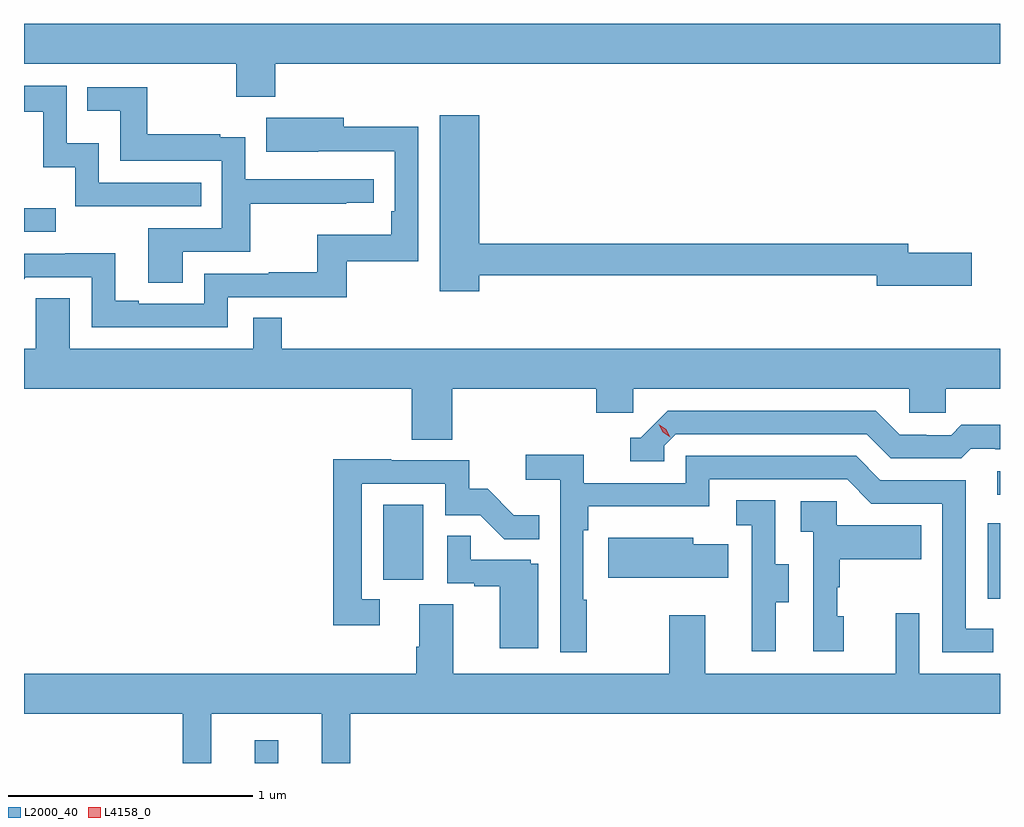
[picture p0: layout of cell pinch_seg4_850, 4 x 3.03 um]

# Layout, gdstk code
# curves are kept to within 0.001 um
import gdstk
lib = gdstk.Library(unit=1e-6, precision=1e-09)
def R(c, l, rs):  # rectangles x0, y0, x1, y1
    for r in rs: c.add(gdstk.rectangle(r[:2], r[2:], *l))
def P(c, l, *ps):  # polygons
    for p in ps: c.add(gdstk.Polygon(p, *l))
L2000_40 = (2000, 40)
L4158_0 = (4158, 0)

pinch_seg4_850 = lib.new_cell('pinch_seg4_850')
R(pinch_seg4_850, L2000_40, [(865.647,789.958,865.744,790.051), (868.65,790.632,868.701,790.942), (866.174,790.71,866.338,791.017), (868.689,791.058,868.701,791.154), (864.701,792.135,864.832,792.232)])
P(pinch_seg4_850, L2000_40, [(865.73,792.824),(868.701,792.824),(868.701,792.988),(864.701,792.988),(864.701,792.824),(865.57,792.824),(865.57,792.689),(865.73,792.689)],
  [(865.427,792.336),(865.008,792.336),(865.008,792.499),(864.876,792.499),(864.876,792.735),(864.701,792.735),(864.701,792.627),(864.779,792.627),(864.779,792.401),(864.912,792.401),(864.912,792.24),(865.427,792.24)],
  [(865.351,792.054),(865.628,792.054),(865.628,792.25),(866.021,792.25),(866.021,792.255),(866.134,792.255),(866.134,792.351),(865.608,792.351),(865.608,792.523),(865.505,792.523),(865.505,792.535),(865.207,792.535),(865.207,792.729),(864.961,792.729),(864.961,792.632),(865.096,792.632),(865.096,792.426),(865.512,792.426),(865.512,792.15),(865.211,792.15),(865.211,791.926),(865.351,791.926)],
  [(866.566,791.958),(868.196,791.958),(868.196,791.915),(868.585,791.915),(868.585,792.05),(868.324,792.05),(868.324,792.086),(866.566,792.086),(866.566,792.613),(866.405,792.613),(866.405,791.892),(866.566,791.892)],
  [(865.536,791.868),(866.023,791.868),(866.023,792.015),(866.316,792.015),(866.316,792.566),(866.011,792.566),(866.011,792.604),(865.693,792.604),(865.693,792.464),(866.22,792.465),(866.22,792.22),(866.207,792.22),(866.207,792.124),(865.902,792.124),(865.902,791.969),(865.705,791.969),(865.705,791.964),(865.44,791.964),(865.44,791.841),(865.171,791.841),(865.171,791.854),(865.075,791.854),(865.075,792.047),(864.87,792.047),(864.87,792.045),(864.701,792.045),(864.701,791.942),(864.708,791.949),(864.978,791.949),(864.978,791.745),(865.536,791.745)],
  [(866.456,791.492),(867.047,791.492),(867.047,791.394),(867.198,791.394),(867.198,791.492),(868.329,791.492),(868.329,791.394),(868.479,791.394),(868.479,791.492),(868.701,791.492),(868.701,791.656),(865.757,791.656),(865.757,791.783),(865.641,791.783),(865.641,791.656),(864.889,791.656),(864.889,791.864),(864.75,791.864),(864.75,791.656),(864.701,791.656),(864.701,791.492),(866.291,791.492),(866.291,791.284),(866.456,791.284)],
  [(867.324,791.259),(867.372,791.307),(868.155,791.307),(868.254,791.208),(868.543,791.208),(868.582,791.247),(868.681,791.247),(868.681,791.244),(868.701,791.244),(868.701,791.344),(868.543,791.344),(868.501,791.301),(868.398,791.301),(868.398,791.304),(868.291,791.304),(868.192,791.403),(867.339,791.403),(867.228,791.292),(867.185,791.292),(867.185,791.196),(867.324,791.196)],
  [(867.007,790.628),(866.994,790.628),(866.994,790.913),(867.014,790.913),(867.014,791.01),(867.51,791.01),(867.51,791.121),(868.074,791.121),(868.173,791.022),(868.464,791.022),(868.464,790.413),(868.673,790.413),(868.673,790.509),(868.56,790.509),(868.56,791.118),(868.21,791.118),(868.111,791.217),(867.414,791.217),(867.414,791.106),(866.996,791.106),(866.996,791.222),(866.757,791.222),(866.757,791.12),(866.898,791.12),(866.898,790.413),(867.007,790.413)],
  [(866.158,790.629),(866.085,790.629),(866.085,791.103),(866.427,791.103),(866.427,790.974),(866.571,790.974),(866.669,790.876),(866.813,790.876),(866.813,790.975),(866.709,790.975),(866.602,791.082),(866.526,791.082),(866.526,791.199),(866.207,791.199),(866.207,791.204),(865.969,791.204),(865.969,790.524),(866.158,790.524)],
  [(867.781,790.618),(867.835,790.618),(867.835,790.773),(867.78,790.773),(867.78,791.036),(867.621,791.036),(867.621,790.933),(867.684,790.933),(867.684,790.629),(867.683,790.629),(867.683,790.416),(867.781,790.416)],
  [(868.06,790.56),(868.035,790.56),(868.035,790.679),(868.045,790.679),(868.045,790.793),(868.379,790.793),(868.379,790.933),(868.032,790.933),(868.032,791.031),(867.885,791.031),(867.885,790.907),(867.936,790.907),(867.936,790.416),(868.06,790.416)],
  [(866.809,790.776),(866.778,790.776),(866.778,790.791),(866.531,790.791),(866.531,790.889),(866.436,790.889),(866.436,790.695),(866.547,790.695),(866.547,790.683),(866.651,790.683),(866.651,790.428),(866.809,790.428)],
  [(867.587,790.855),(867.444,790.855),(867.444,790.882),(867.096,790.882),(867.096,790.718),(867.587,790.718)],
  [(865.469,790.16),(865.922,790.16),(865.922,789.958),(866.039,789.958),(866.039,790.16),(868.701,790.16),(868.701,790.324),(868.371,790.324),(868.371,790.573),(868.274,790.573),(868.274,790.324),(867.493,790.324),(867.493,790.564),(867.346,790.564),(867.346,790.324),(866.461,790.324),(866.461,790.61),(866.321,790.61),(866.321,790.436),(866.309,790.436),(866.309,790.324),(864.701,790.324),(864.701,790.16),(865.351,790.16),(865.351,789.958),(865.469,789.958)])
P(pinch_seg4_850, L4158_0, [(867.349,791.294),(867.318,791.314),(867.303,791.346),(867.303,791.347),(867.303,791.347),(867.333,791.327),(867.349,791.294),(867.349,791.294)])

lib.write_gds('pinch_seg4_850.gds')
